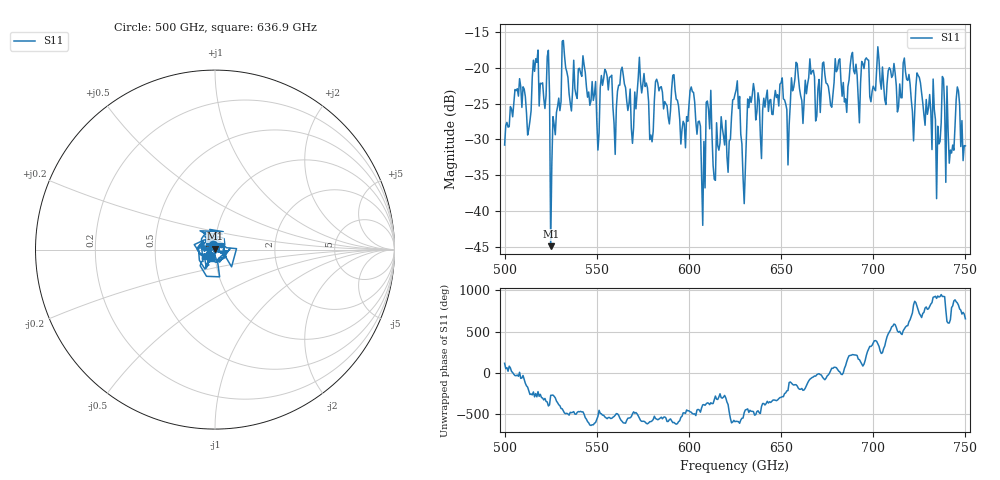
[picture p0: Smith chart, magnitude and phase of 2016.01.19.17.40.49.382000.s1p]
!Created with skrf (http://scikit-rf.org).
# GHz S RI R 50.0
!freq ReS11 ImS11
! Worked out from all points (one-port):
!   401 points, 500 GHz to 750 GHz, reference 50 ohm
!   lowest |S11| = -44.9 dB at 525 GHz (marker M1), VSWR 1.01, Z = 50.1 + j0.563 ohm
!   |S11| at or under -10 dB: start of sweep to end of sweep
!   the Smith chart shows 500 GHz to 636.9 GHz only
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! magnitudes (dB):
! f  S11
! 500 GHz  -30.8
! 506.9 GHz  -22.9
! 513.1 GHz  -28.5
! 516.9 GHz  -18.7
! 525 GHz  -44.9
! 531.2 GHz  -16.3
! 550 GHz  -27.2
! 562.5 GHz  -22.4
! 570 GHz  -28.3
! 576.2 GHz  -22.6
! 579.4 GHz  -29.4
! 583.1 GHz  -22.1
! 593.8 GHz  -24.5
! 601.9 GHz  -23.3
! 607.5 GHz  -42.0
! 610.6 GHz  -25.8
! 614.4 GHz  -35.7
! 625 GHz  -23.7
! 629.4 GHz  -35.4
! 634.4 GHz  -23.7
! 656.2 GHz  -23.2
! 687.5 GHz  -19.6
! 718.8 GHz  -21.7
! 735.6 GHz  -30.6
! 738.8 GHz  -25.4
! 742.5 GHz  -31.9
! 745.6 GHz  -22.6
! 750 GHz  -30.9
